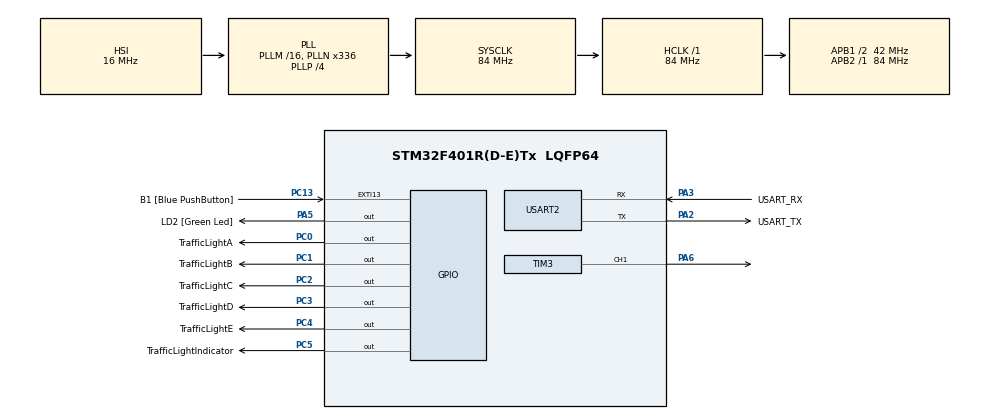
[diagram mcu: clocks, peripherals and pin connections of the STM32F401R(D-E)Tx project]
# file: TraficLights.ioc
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Mcu.Family=STM32F4
Mcu.Name=STM32F401R(D-E)Tx
Mcu.Package=LQFP64
NVIC.EXTI15_10_IRQn=true\:0\:0\:false\:false\:true\:true\:true\:true
NVIC.PriorityGroup=NVIC_PRIORITYGROUP_0
PA13.GPIO_Label=TMS
PA13.Mode=Serial_Wire
PA13.Signal=SYS_JTMS-SWDIO
PA14.GPIO_Label=TCK
PA14.Mode=Serial_Wire
PA14.Signal=SYS_JTCK-SWCLK
PA2.GPIO_Label=USART_TX
PA2.GPIO_Mode=GPIO_MODE_AF_PP
PA2.GPIO_PuPd=GPIO_NOPULL
PA2.GPIO_Speed=GPIO_SPEED_FREQ_LOW
PA2.Mode=Asynchronous
PA2.Signal=USART2_TX
PA3.GPIO_Label=USART_RX
PA3.GPIO_Mode=GPIO_MODE_AF_PP
PA3.GPIO_PuPd=GPIO_NOPULL
PA3.GPIO_Speed=GPIO_SPEED_FREQ_LOW
PA3.Mode=Asynchronous
PA3.Signal=USART2_RX
PA5.GPIO_Label=LD2 [Green Led]
PA5.GPIO_Mode=GPIO_MODE_OUTPUT_PP
PA5.GPIO_PuPd=GPIO_NOPULL
PA5.GPIO_Speed=GPIO_SPEED_FREQ_LOW
PA5.Signal=GPIO_Output
PA6.Signal=S_TIM3_CH1
PB3.GPIO_Label=SWO
PB3.Signal=SYS_JTDO-SWO
PC0.GPIO_Label=TrafficLightA
PC0.GPIO_ModeDefaultOutputPP=GPIO_MODE_OUTPUT_PP
PC0.GPIO_PuPd=GPIO_NOPULL
PC0.GPIO_Speed=GPIO_SPEED_FREQ_LOW
PC0.PinState=GPIO_PIN_RESET
PC0.Signal=GPIO_Output
PC1.GPIO_Label=TrafficLightB
PC1.GPIO_ModeDefaultOutputPP=GPIO_MODE_OUTPUT_PP
PC1.GPIO_PuPd=GPIO_NOPULL
PC1.GPIO_Speed=GPIO_SPEED_FREQ_LOW
PC1.PinState=GPIO_PIN_RESET
PC1.Signal=GPIO_Output
PC13-ANTI_TAMP.GPIO_Label=B1 [Blue PushButton]
PC13-ANTI_TAMP.GPIO_ModeDefaultEXTI=GPIO_MODE_IT_FALLING
PC13-ANTI_TAMP.GPIO_PuPd=GPIO_NOPULL
PC13-ANTI_TAMP.Signal=GPXTI13
PC14-OSC32_IN.Mode=LSE-External-Oscillator
PC14-OSC32_IN.Signal=RCC_OSC32_IN
PC15-OSC32_OUT.Mode=LSE-External-Oscillator
PC15-OSC32_OUT.Signal=RCC_OSC32_OUT
PC2.GPIO_Label=TrafficLightC
PC2.GPIO_ModeDefaultOutputPP=GPIO_MODE_OUTPUT_PP
PC2.GPIO_PuPd=GPIO_NOPULL
PC2.GPIO_Speed=GPIO_SPEED_FREQ_LOW
PC2.PinState=GPIO_PIN_RESET
PC2.Signal=GPIO_Output
PC3.GPIO_Label=TrafficLightD
PC3.GPIO_ModeDefaultOutputPP=GPIO_MODE_OUTPUT_PP
PC3.GPIO_PuPd=GPIO_NOPULL
PC3.GPIO_Speed=GPIO_SPEED_FREQ_LOW
PC3.PinState=GPIO_PIN_RESET
PC3.Signal=GPIO_Output
PC4.GPIO_Label=TrafficLightE
PC4.GPIO_ModeDefaultOutputPP=GPIO_MODE_OUTPUT_PP
PC4.GPIO_PuPd=GPIO_NOPULL
PC4.GPIO_Speed=GPIO_SPEED_FREQ_LOW
PC4.PinState=GPIO_PIN_RESET
PC4.Signal=GPIO_Output
PC5.GPIO_Label=TrafficLightIndicator
PC5.Signal=GPIO_Output
PH0\ -\ OSC_IN.Mode=HSE-External-Clock-Source
PH0\ -\ OSC_IN.Signal=RCC_OSC_IN
PH1\ -\ OSC_OUT.Mode=HSE-External-Clock-Source
PH1\ -\ OSC_OUT.Signal=RCC_OSC_OUT
ProjectManager.HeapSize=0x200
ProjectManager.StackSize=0x400
ProjectManager.TargetToolchain=STM32CubeIDE
RCC.48MHZClocksFreq_Value=48000000
RCC.AHBFreq_Value=84000000
RCC.APB1CLKDivider=RCC_HCLK_DIV2
RCC.APB1Freq_Value=42000000
RCC.APB1TimFreq_Value=84000000
RCC.APB2Freq_Value=84000000
RCC.APB2TimFreq_Value=84000000
RCC.CortexFreq_Value=84000000
RCC.HCLKFreq_Value=84000000
RCC.HSE_VALUE=8000000
RCC.HSI_VALUE=16000000
RCC.PLLN=336
RCC.PLLP=RCC_PLLP_DIV4
RCC.PLLQ=7
RCC.SYSCLKFreq_VALUE=84000000
RCC.SYSCLKSource=RCC_SYSCLKSOURCE_PLLCLK
RCC.VCOOutputFreq_Value=336000000
SH.S_TIM3_CH1.0=TIM3_CH1,PWM Generation1 CH1
TIM3.Channel-PWM\ Generation1\ CH1=TIM_CHANNEL_1
USART2.VirtualMode=VM_ASYNC
board=NUCLEO-F401RE

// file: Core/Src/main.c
/* USER CODE BEGIN Header */
/**
  ******************************************************************************
  * @file           : main.c
  * @brief          : Main program body
  ******************************************************************************
  * @attention
  *
  * Copyright (c) 2022 STMicroelectronics.
  * All rights reserved.
  *
  * This software is licensed under terms that can be found in the LICENSE file
  * in the root directory of this software component.
  * If no LICENSE file comes with this software, it is provided AS-IS.
  *
  ******************************************************************************
  */
/* USER CODE END Header */
#include "main.h"

/* USER CODE BEGIN Includes */
#include "abuzz.h"
#include <stdio.h>
/* USER CODE END Includes */

/* USER CODE BEGIN PD */
typedef enum{
	ev_none,
	ev_button_push,
	ev_state_timeout,
	ev_reset,
	ev_error
} event;

const char* eventName[] = {
	"ev_none         ",
	"ev_button_push  ",
	"ev_state_timeout",
	"ev_reset        ",
	"ev_error        "
};

typedef enum{
	s_reset,
	s_yellow_car_start,
	s_green_car_go,
	s_button_pressed_car_go,
	s_yellow_car_stop,
	s_red_car_stoped,
	s_red_pedestrian_go,
	s_red_pedestrian_clear,
	s_error
} state;

const char* stateName[] = {
	"s_reset",
	"s_yellow_car_start",
	"s_green_car_go",
	"s_button_pressed_car_go",
	"s_yellow_car_stop",
	"s_red_car_stoped",
	"s_red_pedestrian_go",
	"s_red_pedestrian_clear",
	"s_error"
};

char lightsDecode[] = {
//    IABCDE
	0b010010, // s_reset
	0b001010, // s_yellow_car_start
	0b000110, // s_green_car_go,
	0b100110, // s_button_pressed_car_go,
	0b101010, // s_yellow_car_stop,
	0b110010, // s_red_car_stoped,
	0b110001, // s_red_pedestrian_go,
	0b010010, // s_red_pedestrian_clear
	0b111111, // s_error
};
/* USER CODE END PD */

/* USER CODE BEGIN PM */
#define MAX(x, y) (((x) > (y)) ? (x) : (y))
#define MIN(x, y) (((x) < (y)) ? (x) : (y))
/* USER CODE END PM */

 TIM_HandleTypeDef htim3;

UART_HandleTypeDef huart2;

void SystemClock_Config(void);
static void MX_GPIO_Init(void);
static void MX_USART2_UART_Init(void);
static void MX_TIM3_Init(void);

/* USER CODE BEGIN 0 */

#define EVQ_SIZE 10
event evq[ EVQ_SIZE ];

int evq_count = 0;
int evq_front_ix = 0;
int evq_rear_ix = 0;

void evq_push_back(event e){
	// if queue is full, ignore e
	if ( evq_count < EVQ_SIZE )
	{
		evq[evq_rear_ix] = e;
		evq_rear_ix++;
		evq_rear_ix %= EVQ_SIZE;
		evq_count++;
	}
}

event evq_pop_front(){
	event e = ev_none;
	if ( evq_count > 0 )
	{
		e = evq[evq_front_ix];
		// replace data in cell to detect stupidity:
		evq[evq_front_ix] = ev_error;
		evq_front_ix++;
		evq_front_ix %= EVQ_SIZE;
		evq_count--;
	}
	return e;
}

int blueButtonPressed(){
	return 0 == (B1_GPIO_Port->IDR & B1_Pin);
}

void setLights(state s){
	char lights = lightsDecode[s];
	const char mask = TrafficLightA_Pin | TrafficLightB_Pin | TrafficLightC_Pin | TrafficLightD_Pin | TrafficLightE_Pin | TrafficLightIndicator_Pin;
	char * tmp = (char*)&(TrafficLightA_GPIO_Port->ODR);//using 8 bit assesses
	*tmp = (*tmp & ~mask) | lights;
}

int ticks_left = 0;

void printState(event ev, state s){
	static event l_ev = ev_error;
	static state l_s = s_error;
	if(ev == l_ev && s == l_s)return;//discard repeated inputs
	l_ev = ev;
	l_s = s;

	char str[100] = {'\0'};
	uint16_t str_len = 0;
	str_len = sprintf(str, "EV: %s \t state: %s\r\n", eventName[ev], stateName[s]);
	HAL_UART_Transmit(&huart2, (uint8_t*) str, str_len, HAL_MAX_DELAY);
}

void stateMachine(event ev)
{
	static state s = s_reset;
	printState(ev, s);
	switch(s)
	{
	case s_reset:
	{
		if(ev == ev_reset){
			ticks_left = 2500;
			ev = ev_none;
			s = s_reset;
			setLights(s);
		}
		if(ev == ev_state_timeout){
			ticks_left = 2500;
			ev = ev_none;
			s = s_yellow_car_start;
			setLights(s);
		}
		break;
	}
	case s_yellow_car_start:{
		if(ev == ev_state_timeout){
			ticks_left = 2500;
			ev = ev_none;
			s = s_green_car_go;
			setLights(s);
		}
		break;
	}
	case s_green_car_go:{
		if(ev == ev_button_push){
			ticks_left = 2500;
			ev = ev_none;
			s = s_button_pressed_car_go;
			setLights(s);
			abuzz_start();
			abuzz_p_long();
		}
		break;
	}
	case s_button_pressed_car_go:{
		if(ev == ev_state_timeout){
			ticks_left = 2500;
			ev = ev_none;
			s = s_yellow_car_stop;
			setLights(s);
		}
		break;
	}
	case s_yellow_car_stop:{
		if(ev == ev_state_timeout){
			ticks_left = 2500;
			ev = ev_none;
			s = s_red_car_stoped;
			setLights(s);
		}
		break;
	}
	case s_red_car_stoped:{
		if(ev == ev_state_timeout){
			ticks_left = 5000;
			ev = ev_none;
			s = s_red_pedestrian_go;
			setLights(s);
			abuzz_p_short();
		}
		break;
	}
	case s_red_pedestrian_go:{
		if(ev == ev_state_timeout){
			ticks_left = 2500;
			ev = ev_none;
			s = s_red_pedestrian_clear;
			setLights(s);
			abuzz_stop();
		}
		break;
	}
	case s_red_pedestrian_clear:{
		if(ev == ev_state_timeout){
			ticks_left = 2500;
			ev = ev_none;
			s = s_yellow_car_start;
			setLights(s);
		}
		break;
	}
	default:{
		s = s_error;
		setLights(s);
		break;
		}
	}
}

void my_EXTI15_10_IRQHandler(){
	evq_push_back(ev_button_push);

}

void my_SysTick_Handler()
{
	if(ticks_left != 0)
	{
		ticks_left--;
		if(ticks_left == 0)
		{
			evq_push_back(ev_state_timeout);
		}
	}
}

/* USER CODE END 0 */

int main(void)
{

  /* MCU Configuration--------------------------------------------------------*/

  /* Reset of all peripherals, Initializes the Flash interface and the Systick. */
  HAL_Init();

  /* Configure the system clock */
  SystemClock_Config();

  /* Initialize all configured peripherals */
  MX_GPIO_Init();
  MX_USART2_UART_Init();
  MX_TIM3_Init();
  /* USER CODE BEGIN 2 */
  HAL_TIM_PWM_Start(&htim3, TIM_CHANNEL_1);
  /* USER CODE END 2 */

  /* Infinite loop */
  /* USER CODE BEGIN WHILE */
  stateMachine(ev_reset);

  while (1)
  {
	  stateMachine(evq_pop_front());
    /* USER CODE END WHILE */

  }
}

void SystemClock_Config(void)
{
  RCC_OscInitTypeDef RCC_OscInitStruct = {0};
  RCC_ClkInitTypeDef RCC_ClkInitStruct = {0};

  /** Configure the main internal regulator output voltage
  */
  __HAL_RCC_PWR_CLK_ENABLE();
  __HAL_PWR_VOLTAGESCALING_CONFIG(PWR_REGULATOR_VOLTAGE_SCALE2);

  /** Initializes the RCC Oscillators according to the specified parameters
  * in the RCC_OscInitTypeDef structure.
  */
  RCC_OscInitStruct.OscillatorType = RCC_OSCILLATORTYPE_HSI;
  RCC_OscInitStruct.HSIState = RCC_HSI_ON;
  RCC_OscInitStruct.HSICalibrationValue = RCC_HSICALIBRATION_DEFAULT;
  RCC_OscInitStruct.PLL.PLLState = RCC_PLL_ON;
  RCC_OscInitStruct.PLL.PLLSource = RCC_PLLSOURCE_HSI;
  RCC_OscInitStruct.PLL.PLLM = 16;
  RCC_OscInitStruct.PLL.PLLN = 336;
  RCC_OscInitStruct.PLL.PLLP = RCC_PLLP_DIV4;
  RCC_OscInitStruct.PLL.PLLQ = 7;
  if (HAL_RCC_OscConfig(&RCC_OscInitStruct) != HAL_OK)
  {
    Error_Handler();
  }

  /** Initializes the CPU, AHB and APB buses clocks
  */
  RCC_ClkInitStruct.ClockType = RCC_CLOCKTYPE_HCLK|RCC_CLOCKTYPE_SYSCLK
                              |RCC_CLOCKTYPE_PCLK1|RCC_CLOCKTYPE_PCLK2;
  RCC_ClkInitStruct.SYSCLKSource = RCC_SYSCLKSOURCE_PLLCLK;
  RCC_ClkInitStruct.AHBCLKDivider = RCC_SYSCLK_DIV1;
  RCC_ClkInitStruct.APB1CLKDivider = RCC_HCLK_DIV2;
  RCC_ClkInitStruct.APB2CLKDivider = RCC_HCLK_DIV1;

  if (HAL_RCC_ClockConfig(&RCC_ClkInitStruct, FLASH_LATENCY_2) != HAL_OK)
  {
    Error_Handler();
  }
}

static void MX_TIM3_Init(void)
{

  TIM_MasterConfigTypeDef sMasterConfig = {0};
  TIM_OC_InitTypeDef sConfigOC = {0};

  htim3.Instance = TIM3;
  htim3.Init.Prescaler = 0;
  htim3.Init.CounterMode = TIM_COUNTERMODE_UP;
  htim3.Init.Period = 65535;
  htim3.Init.ClockDivision = TIM_CLOCKDIVISION_DIV1;
  htim3.Init.AutoReloadPreload = TIM_AUTORELOAD_PRELOAD_DISABLE;
  if (HAL_TIM_PWM_Init(&htim3) != HAL_OK)
  {
    Error_Handler();
  }
  sMasterConfig.MasterOutputTrigger = TIM_TRGO_RESET;
  sMasterConfig.MasterSlaveMode = TIM_MASTERSLAVEMODE_DISABLE;
  if (HAL_TIMEx_MasterConfigSynchronization(&htim3, &sMasterConfig) != HAL_OK)
  {
    Error_Handler();
  }
  sConfigOC.OCMode = TIM_OCMODE_PWM1;
  sConfigOC.Pulse = 0;
  sConfigOC.OCPolarity = TIM_OCPOLARITY_HIGH;
  sConfigOC.OCFastMode = TIM_OCFAST_DISABLE;
  if (HAL_TIM_PWM_ConfigChannel(&htim3, &sConfigOC, TIM_CHANNEL_1) != HAL_OK)
  {
    Error_Handler();
  }
  HAL_TIM_MspPostInit(&htim3);

}

static void MX_USART2_UART_Init(void)
{

  huart2.Instance = USART2;
  huart2.Init.BaudRate = 115200;
  huart2.Init.WordLength = UART_WORDLENGTH_8B;
  huart2.Init.StopBits = UART_STOPBITS_1;
  huart2.Init.Parity = UART_PARITY_NONE;
  huart2.Init.Mode = UART_MODE_TX_RX;
  huart2.Init.HwFlowCtl = UART_HWCONTROL_NONE;
  huart2.Init.OverSampling = UART_OVERSAMPLING_16;
  if (HAL_UART_Init(&huart2) != HAL_OK)
  {
    Error_Handler();
  }

}

static void MX_GPIO_Init(void)
{
  GPIO_InitTypeDef GPIO_InitStruct = {0};

  /* GPIO Ports Clock Enable */
  __HAL_RCC_GPIOC_CLK_ENABLE();
  __HAL_RCC_GPIOH_CLK_ENABLE();
  __HAL_RCC_GPIOA_CLK_ENABLE();
  __HAL_RCC_GPIOB_CLK_ENABLE();

  /*Configure GPIO pin Output Level */
  HAL_GPIO_WritePin(GPIOC, TrafficLightA_Pin|TrafficLightB_Pin|TrafficLightC_Pin|TrafficLightD_Pin
                          |TrafficLightE_Pin|TrafficLightIndicator_Pin, GPIO_PIN_RESET);

  /*Configure GPIO pin Output Level */
  HAL_GPIO_WritePin(LD2_GPIO_Port, LD2_Pin, GPIO_PIN_RESET);

  /*Configure GPIO pin : B1_Pin */
  GPIO_InitStruct.Pin = B1_Pin;
  GPIO_InitStruct.Mode = GPIO_MODE_IT_FALLING;
  GPIO_InitStruct.Pull = GPIO_NOPULL;
  HAL_GPIO_Init(B1_GPIO_Port, &GPIO_InitStruct);

  /*Configure GPIO pins : TrafficLightA_Pin TrafficLightB_Pin TrafficLightC_Pin TrafficLightD_Pin
                           TrafficLightE_Pin TrafficLightIndicator_Pin */
  GPIO_InitStruct.Pin = TrafficLightA_Pin|TrafficLightB_Pin|TrafficLightC_Pin|TrafficLightD_Pin
                          |TrafficLightE_Pin|TrafficLightIndicator_Pin;
  GPIO_InitStruct.Mode = GPIO_MODE_OUTPUT_PP;
  GPIO_InitStruct.Pull = GPIO_NOPULL;
  GPIO_InitStruct.Speed = GPIO_SPEED_FREQ_LOW;
  HAL_GPIO_Init(GPIOC, &GPIO_InitStruct);

  /*Configure GPIO pin : LD2_Pin */
  GPIO_InitStruct.Pin = LD2_Pin;
  GPIO_InitStruct.Mode = GPIO_MODE_OUTPUT_PP;
  GPIO_InitStruct.Pull = GPIO_NOPULL;
  GPIO_InitStruct.Speed = GPIO_SPEED_FREQ_LOW;
  HAL_GPIO_Init(LD2_GPIO_Port, &GPIO_InitStruct);

  /* EXTI interrupt init*/
  HAL_NVIC_SetPriority(EXTI15_10_IRQn, 0, 0);
  HAL_NVIC_EnableIRQ(EXTI15_10_IRQn);

}

void Error_Handler(void)
{
  __disable_irq();
  while (1)
  {
  }
}
